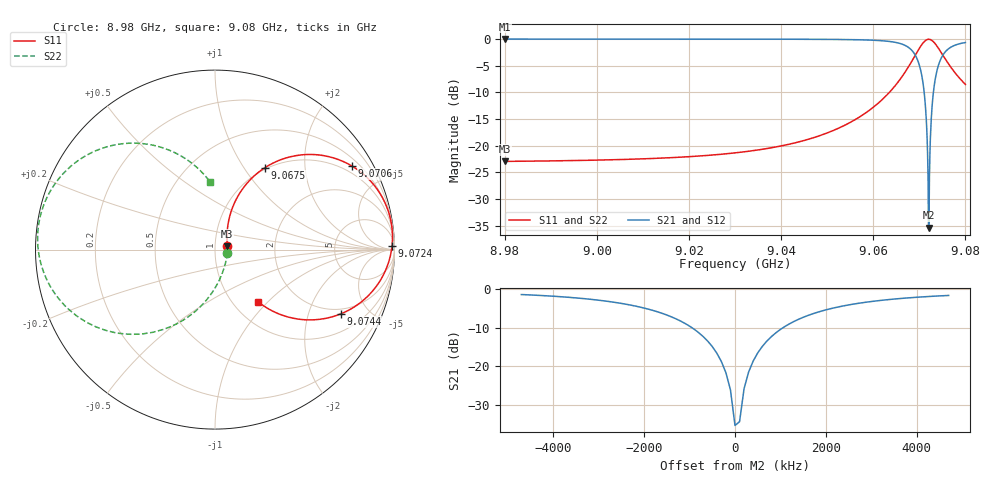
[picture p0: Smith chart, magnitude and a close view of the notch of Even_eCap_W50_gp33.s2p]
! Sonnet Data File
! From: emgraph Version : 16.52
! From Project: Resonator2_extremeCap
! Data is De-embedded
! Data File Written: 10/10/2017 20:29:23
!< HDATE 10/09/2017 23:04:37
!< MDATE 10/09/2017 23:04:37
!< PARAMS
!< Pwid1 = 2000.0
!< Pwid2 = 2000.0
!< Air_gap = 30.0
!< Width = 50.0
!< Gap = 33.0
!< END PARAMS
# GHZ S MA R 51.80000
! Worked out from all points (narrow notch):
!   1001 points, 8.98 GHz to 9.08 GHz, reference 51.8 ohm
!   highest |S21| = -0.02 dB at 8.98 GHz (marker M1); lowest = -35.4 dB at 9.072 GHz (marker M2)
!   notch at M2: 35.3 dB deep, 794 kHz wide at half that depth
!   lowest |S11| = -22.9 dB at 8.98 GHz (marker M3), VSWR 1.15, Z = 59.4 + j2.24 ohm
!   |S11| at or under -10 dB: start of sweep to 9.0635 GHz
!   |S22| runs from -23.0 to -0.1 dB; largest |S21 - S12| = 0
!   S11 on the Smith chart (normalised r, x): 8.98 GHz: 1.15, +0.04; 9.0675 GHz: 0.98, +1.25; 9.0706 GHz: 0.74, +3.40; 9.0724 GHz: 41, +67; 9.0744 GHz: 1.75, -3.30; 9.08 GHz: 1.30, -0.87
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8.98  0.07121 15.3  0.9975 -89.6  0.9975 -89.6  0.0712 -14.4
!< P1 F=8.98 Eeff=(6.44048327 -2.9689e-5) Z0=(50.406422 1.16291e-4) R=0.0 C=0.0
!< P2 F=8.98 Eeff=(6.44048327 -2.9689e-5) Z0=(50.406422 1.16291e-4) R=0.0 C=0.0
8.9967  0.07273 20.2  0.9973 -90.2  0.9973 -90.2  0.07271 -20.5
9.0134  0.07625 27.5  0.9971 -91.0  0.9971 -91.0  0.07621 -29.4
9.03  0.0856 38.6  0.9963 -92.3  0.9963 -92.3  0.08554 -43.2
9.0467  0.1175 54.9  0.993 -95.1  0.993 -95.1  0.1174 -65.2
9.0562  0.1767 64.6  0.984 -99.2  0.984 -99.2  0.1765 -83.0
9.0634  0.3123 67.0  0.9492 -107.7  0.9492 -107.7  0.312 -102.6
9.0657  0.4112 64.2  0.9102 -113.9  0.9102 -113.9  0.4107 -112.4
9.0675  0.5356 58.6  0.8421 -122.1  0.8421 -122.1  0.535 -123.4
9.0693  0.7261 46.8  0.6824 -136.4  0.6824 -136.4  0.7253 -140.4
9.0706  0.893 31.5  0.4382 -153.1  0.4382 -153.1  0.892 -159.4
9.0712  0.9556 22.2  0.2733 -162.7  0.2733 -162.7  0.9546 -170.5
9.0717  0.9869 13.6  0.1153 -169.9  0.1153 -169.9  0.9859 179.6
9.072  0.9934 8.3  0.01705 -155.0  0.01705 -155.0  0.9924 173.4
9.0724  0.9868 1.2  0.1168 -10.1  0.1168 -10.1  0.9858 165.2
9.0728  0.964 -5.5  0.2422 -15.7  0.2422 -15.7  0.9631 157.3
9.0731  0.9384 -10.3  0.3288 -20.4  0.3288 -20.4  0.9375 151.7
9.0737  0.8731 -18.9  0.4776 -29.4  0.4776 -29.4  0.8722 141.6
9.0744  0.7879 -27.0  0.6095 -38.2  0.6095 -38.2  0.7871 131.5
9.0755  0.6631 -36.2  0.745 -48.7  0.745 -48.7  0.6624 119.4
9.0767  0.5547 -42.6  0.8298 -56.6  0.8298 -56.6  0.5542 109.9
9.08  0.3753 -50.5  0.926 -68.5  0.926 -68.5  0.375 93.8
